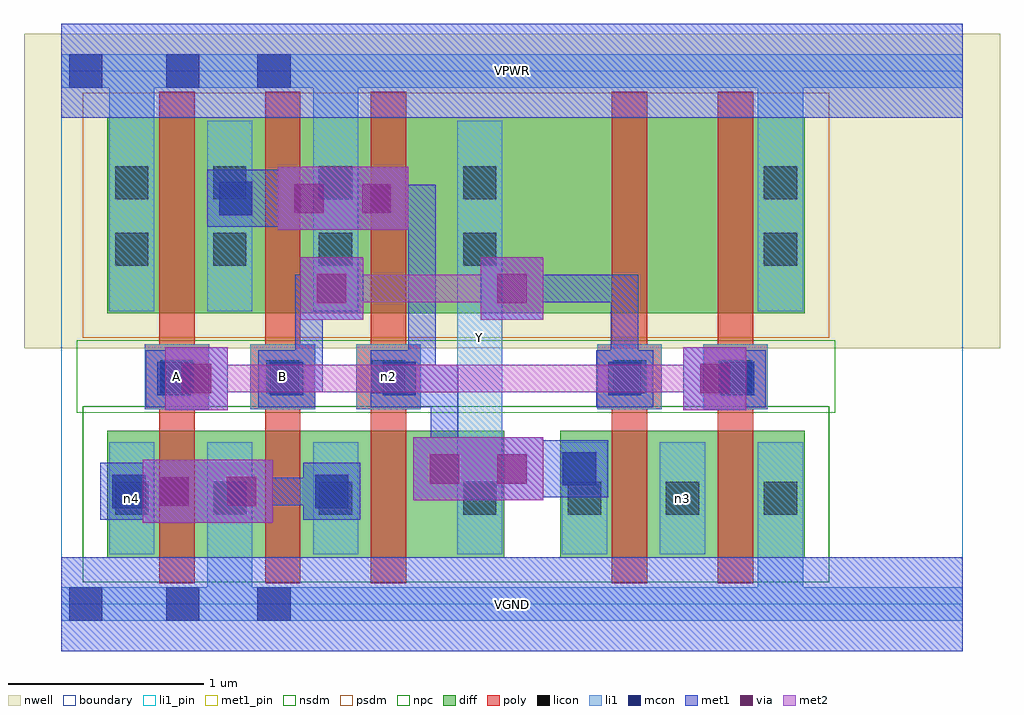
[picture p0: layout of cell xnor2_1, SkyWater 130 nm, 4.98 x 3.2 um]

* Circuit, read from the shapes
.subckt xnor2_1 A B VGND VPWR Y n2 n3 n4
XM1 VGND A n4 VSUBS sky130_fd_pr__nfet_01v8 w=0.65 l=0.18
XM2 n4 B VGND VSUBS sky130_fd_pr__nfet_01v8 w=0.65 l=0.18
XM3 Y n2 n4 VSUBS sky130_fd_pr__nfet_01v8 w=0.65 l=0.18
XM4 n3 B n2 VSUBS sky130_fd_pr__nfet_01v8 w=0.65 l=0.18
XM5 VGND A n3 VSUBS sky130_fd_pr__nfet_01v8 w=0.65 l=0.18
XM6 n2 A VPWR n1 sky130_fd_pr__pfet_01v8 w=1 l=0.18
XM7 VPWR B n2 n1 sky130_fd_pr__pfet_01v8 w=1 l=0.18
XM8 Y n2 VPWR n1 sky130_fd_pr__pfet_01v8 w=1 l=0.18
XM9 n5 B Y n1 sky130_fd_pr__pfet_01v8 w=1 l=0.18
XM10 VPWR A n5 n1 sky130_fd_pr__pfet_01v8 w=1 l=0.18
.ends

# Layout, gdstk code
import gdstk
lib = gdstk.Library(unit=1e-6, precision=1e-09)
def R(c, l, rs):  # rectangles x0, y0, x1, y1
    for r in rs: c.add(gdstk.rectangle(r[:2], r[2:], *l))
def A(c, l, x, y, w, h, nx, ny, dx, dy):  # array of equal rectangles
    R(c, l, [(x+i*dx, y+j*dy, x+i*dx+w, y+j*dy+h) for i in range(nx) for j in range(ny)])
nwell = (64, 20)
diff = (65, 20)
poly = (66, 20)
licon = (66, 44)
li1_pin = (67, 16)
li1 = (67, 20)
mcon = (67, 44)
met1_pin = (68, 16)
met1 = (68, 20)
via = (68, 44)
met2 = (69, 20)
nsdm = (93, 44)
psdm = (94, 20)
npc = (95, 20)
boundary = (235, 4)

xnor2_1 = lib.new_cell('xnor2_1')
R(xnor2_1, nwell, [(-0.19,1.305,4.79,2.91), (0,1.305,4.6,2.91)])
R(xnor2_1, diff, [(0.235,0.235,2.26,0.885), (2.545,0.235,3.795,0.885), (0.235,1.485,3.795,2.485)])
A(xnor2_1, poly, 0.5, 0.105, 0.18, 2.51, 3, 1, 0.54, 0)
A(xnor2_1, poly, 0.425, 0.995, 0.33, 0.33, 3, 1, 0.54, 0)
R(xnor2_1, poly, [(2.81,0.105,2.99,2.615), (3.35,0.105,3.53,2.615), (2.735,0.995,3.065,1.325), (3.275,0.995,3.605,1.325)])
A(xnor2_1, licon, 2.585, 0.455, 0.17, 0.17, 3, 1, 0.5, 0)
A(xnor2_1, licon, 0.505, 1.075, 0.17, 0.17, 3, 1, 0.54, 0)
R(xnor2_1, licon, [(0.275,0.455,0.445,0.625), (0.775,0.455,0.945,0.625), (1.315,0.455,1.485,0.625), (2.05,0.455,2.22,0.625), (2.815,1.075,2.985,1.245), (3.355,1.075,3.525,1.245), (0.275,1.725,0.445,1.895), (0.775,1.725,0.945,1.895), (1.315,1.725,1.485,1.895), (2.05,1.725,2.22,1.895), (3.585,1.725,3.755,1.895), (0.275,2.065,0.445,2.235), (0.775,2.065,0.945,2.235), (1.315,2.065,1.485,2.235), (2.05,2.065,2.22,2.235), (3.585,2.065,3.755,2.235)])
R(xnor2_1, li1_pin, [(2.02,0.255,2.25,2.465), (0.425,0.995,0.755,1.325), (0.965,0.995,1.295,1.325)])
A(xnor2_1, li1, 0.425, 0.995, 0.33, 0.33, 3, 1, 0.54, 0)
R(xnor2_1, li1, [(0,-0.085,4.6,0.085), (0.745,-0.085,0.975,0.825), (3.555,-0.085,3.785,0.825), (0.245,0.255,0.475,0.825), (1.285,0.255,1.515,0.825), (2.02,0.255,2.25,2.465), (2.555,0.255,2.785,0.825), (3.055,0.255,3.285,0.825), (2.735,0.995,3.065,1.325), (3.275,0.995,3.605,1.325), (0.245,1.495,0.475,2.805), (0.745,1.495,0.975,2.465), (1.285,1.495,1.515,2.805), (3.555,1.495,3.785,2.805), (0,2.635,4.6,2.805)])
A(xnor2_1, mcon, 0.49, 1.065, 0.17, 0.17, 3, 1, 0.575, 0)
R(xnor2_1, mcon, [(0.04,-0.085,0.21,0.085), (0.535,-0.085,0.705,0.085), (1,-0.085,1.17,0.085), (0.26,0.49,0.43,0.66), (1.295,0.49,1.465,0.66), (2.56,0.605,2.73,0.775), (2.79,1.065,2.96,1.235), (3.365,1.065,3.535,1.235), (0.805,1.985,0.975,2.155), (0.04,2.635,0.21,2.805), (0.535,2.635,0.705,2.805), (1,2.635,1.17,2.805)])
R(xnor2_1, met1_pin, [(0,-0.24,4.6,0.24), (0,2.48,4.6,2.96)])
A(xnor2_1, met1, 0.43, 1.005, 0.29, 0.29, 3, 1, 0.575, 0)
R(xnor2_1, met1, [(0,-0.24,4.6,0.24), (0.415,0.415,0.735,0.735), (0.735,0.415,0.76,0.735), (0.76,0.415,1.08,0.735), (0.2,0.43,0.49,0.72), (1.235,0.43,1.525,0.72), (0.275,0.505,0.645,0.645), (0.645,0.505,0.76,0.645), (0.735,0.505,0.85,0.645), (0.85,0.505,1.45,0.645), (1.795,0.53,2.115,0.85), (2.115,0.53,2.14,0.85), (2.14,0.53,2.46,0.85), (2.46,0.545,2.5,0.835), (2.5,0.545,2.79,0.835), (1.885,0.62,2.025,1.22), (2.025,0.62,2.14,0.85), (2.115,0.62,2.23,0.76), (2.23,0.62,2.715,0.76), (0.53,0.99,0.85,1.31), (3.175,0.99,3.495,1.31), (1.87,1.005,1.885,1.22), (2.73,1.005,3.02,1.295), (3.305,1.005,3.595,1.295), (0.505,1.08,0.76,1.22), (1.08,1.08,1.335,1.22), (1.195,1.08,1.335,1.68), (1.655,1.08,2.025,1.22), (1.77,1.08,1.91,2.14), (2.805,1.08,2.945,1.68), (3.265,1.08,3.52,1.22), (1.22,1.45,1.54,1.77), (2.14,1.45,2.46,1.77), (1.195,1.54,1.45,1.68), (2.23,1.54,2.945,1.68), (1.105,1.91,1.425,2.23), (1.425,1.91,1.45,2.23), (1.45,1.91,1.77,2.23), (0.745,1.925,1.035,2.215), (1.035,1.925,1.105,2.215), (0.82,2,1.105,2.14), (0.965,2,1.335,2.14), (1.335,2,1.45,2.14), (1.425,2,1.54,2.14), (1.54,2,1.91,2.14), (0,2.48,4.6,2.96)])
R(xnor2_1, via, [(0.5,0.5,0.65,0.65), (0.845,0.5,0.995,0.65), (1.88,0.615,2.03,0.765), (2.225,0.615,2.375,0.765), (0.615,1.075,0.765,1.225), (3.26,1.075,3.41,1.225), (1.305,1.535,1.455,1.685), (2.225,1.535,2.375,1.685), (1.19,1.995,1.34,2.145), (1.535,1.995,1.685,2.145)])
R(xnor2_1, met2, [(0.415,0.415,0.735,0.735), (0.735,0.415,0.76,0.735), (0.76,0.415,1.08,0.735), (0.505,0.505,0.99,0.645), (1.795,0.53,2.115,0.85), (2.115,0.53,2.14,0.85), (2.14,0.53,2.46,0.85), (1.885,0.62,2.37,0.76), (0.53,0.99,0.85,1.31), (3.175,0.99,3.495,1.31), (0.62,1.08,3.405,1.22), (1.22,1.45,1.54,1.77), (2.14,1.45,2.46,1.77), (1.31,1.54,2.37,1.68), (1.105,1.91,1.425,2.23), (1.425,1.91,1.45,2.23), (1.45,1.91,1.77,2.23), (1.195,2,1.68,2.14)])
R(xnor2_1, nsdm, [(0.11,0.11,3.92,1.01)])
R(xnor2_1, psdm, [(0.11,1.36,3.92,2.61)])
R(xnor2_1, npc, [(0.08,0.975,3.95,1.345)])
R(xnor2_1, boundary, [(0,0,4.6,2.72)])
xnor2_1.add(gdstk.Label('A', (0.59,1.16), layer=67, texttype=5))
xnor2_1.add(gdstk.Label('B', (1.13,1.16), layer=67, texttype=5))
xnor2_1.add(gdstk.Label('Y', (2.135,1.36), layer=67, texttype=5))
xnor2_1.add(gdstk.Label('n2', (1.67,1.16), layer=67, texttype=5))
xnor2_1.add(gdstk.Label('n4', (0.36,0.54), layer=67, texttype=5))
xnor2_1.add(gdstk.Label('n3', (3.17,0.54), layer=67, texttype=5))
xnor2_1.add(gdstk.Label('VPWR', (2.3,2.72), layer=68, texttype=5))
xnor2_1.add(gdstk.Label('VGND', (2.3,0), layer=68, texttype=5))
xnor2_1.add(gdstk.Label('A', (0.59,1.16), layer=67, texttype=16))
xnor2_1.add(gdstk.Label('B', (1.13,1.16), layer=67, texttype=16))
xnor2_1.add(gdstk.Label('Y', (2.135,1.36), layer=67, texttype=16))
xnor2_1.add(gdstk.Label('VPWR', (2.3,2.72), layer=68, texttype=16))
xnor2_1.add(gdstk.Label('VGND', (2.3,0), layer=68, texttype=16))

lib.write_gds('xnor2_1.gds')
